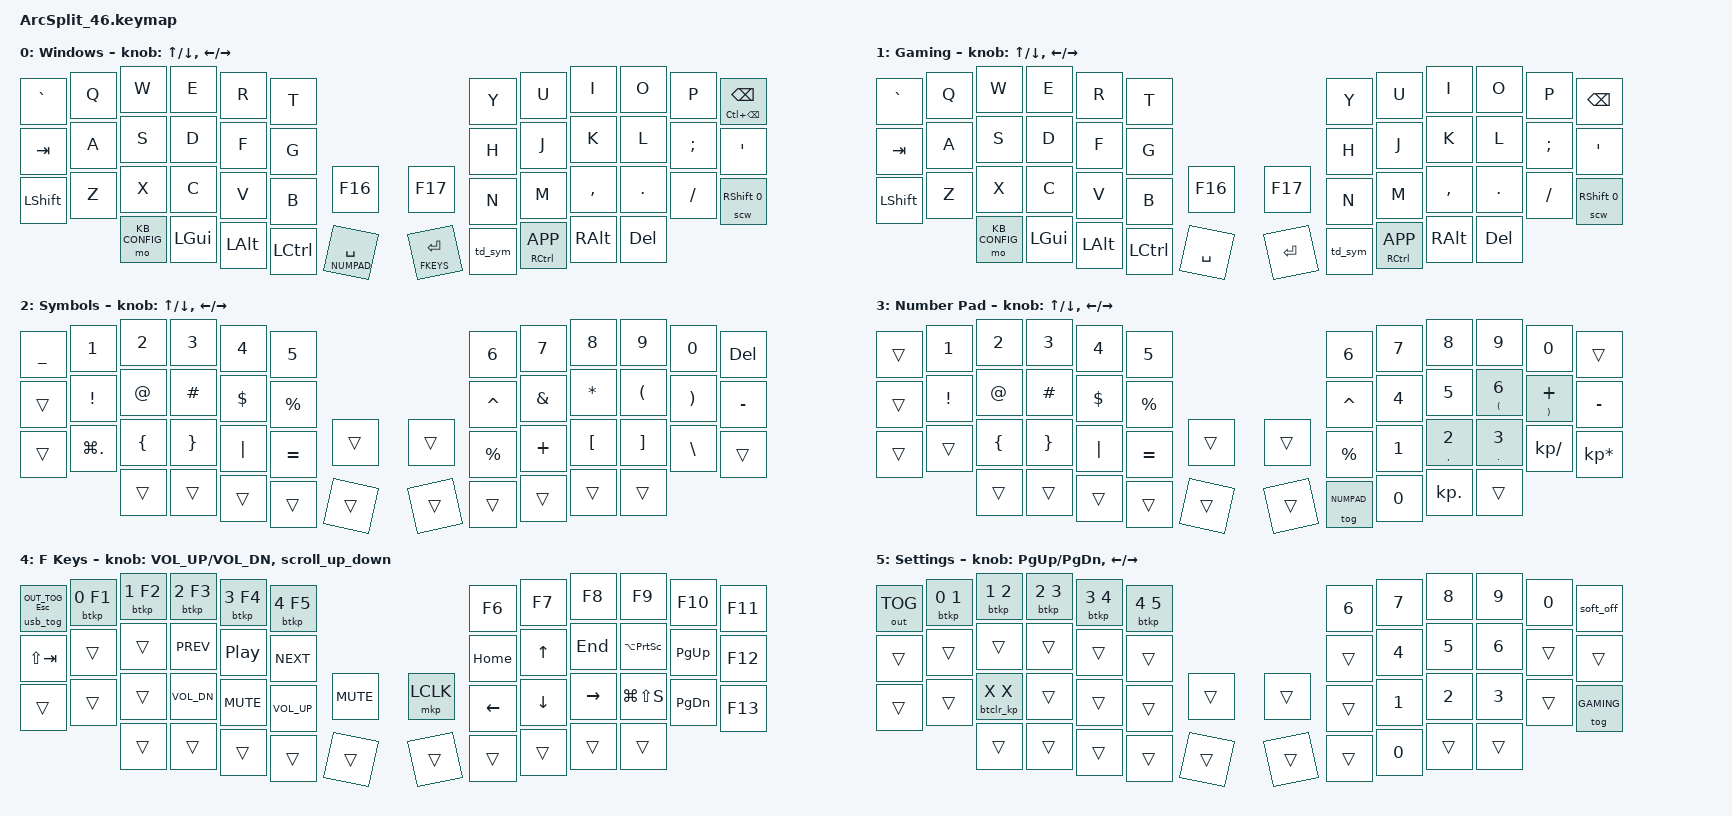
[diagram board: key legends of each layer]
#include <behaviors.dtsi>
#include <dt-bindings/zmk/keys.h>
#include <dt-bindings/zmk/bt.h>
#include <dt-bindings/zmk/outputs.h>

#define ZMK_POINTING_DEFAULT_SCRL_VAL 100
#include <dt-bindings/zmk/pointing.h>

// Helpful macros borrowed from AndrewMSHowe
#define ___ &trans

// Layer numbers for use by the keymap & macros
#define WINDOWS   0
#define GAMING    1
#define SYMBOLS   2
#define NUMPAD    3
#define FKEYS     4
#define KB_CONFIG 5

#include "position_map.dtsi"
#include "ArcSplit_46-layout.dtsi"
#include "keymap_behaviors.dtsi"
#include "keymap_macros.dtsi"

/ {

    keymap {
        compatible = "zmk,keymap";

        default_layer {
            display-name = "Windows";
            sensor-bindings = <&inc_dec_kp UP DOWN &inc_dec_kp LEFT RIGHT>;
            bindings = <
// ╭───────────────┬───────────────┬───────────────┬───────────────┬───────────────┬───────────────╮                                 ╭───────────────┬───────────────┬───────────────┬───────────────┬───────────────┬───────────────╮
// │    GRAVE      │      Q        │      W        │      E        │      R        │      T        │                                 │      Y        │      U        │      I        │      O        │      P        │  LC(BSPC)/BSPC│
// ├───────────────┼───────────────┼───────────────┼───────────────┼───────────────┼───────────────┤                                 ├───────────────┼───────────────┼───────────────┼───────────────┼───────────────┼───────────────┤
// │    TAB        │      A        │      S        │      D        │      F        │      G        │                                 │      H        │      J        │      K        │      L        │      ;        │      '        │
// ├───────────────┼───────────────┼───────────────┼───────────────┼───────────────┼───────────────┼─────────────╮     ╭─────────────┼───────────────┼───────────────┼───────────────┼───────────────┼───────────────┼───────────────┤
// │    LSHIFT     │      Z        │      X        │      C        │      V        │      B        │    F16      │     │    F17      │      N        │      M        │      ,        │      .        │      /        │  RSHIFT(scw)  │
// ╰───────────────┴───────────────┼───────────────┼───────────────┼───────────────┼───────────────┼─────────────╯     ╰─────────────┼───────────────┼───────────────┼───────────────┼───────────────┼───────────────┴───────────────╯
//                                 │  mo KB_CONFIG │    LGUI       │    LALT       │    LCTRL      │  NUMPAD/SPC │     │  FKEYS/ENT  │    td_sym     │  RCTRL/K_APP  │    RALT       │    DEL        │
//                                 ╰───────────────┴───────────────┴───────────────┴───────────────┴─────────────╯     ╰─────────────┴───────────────┴───────────────┴───────────────┴───────────────╯
// ╭───────────────┬───────────────┬───────────────┬───────────────┬───────────────┬───────────────╮                                 ╭───────────────┬───────────────┬───────────────┬───────────────┬───────────────┬───────────────╮
       &kp GRAVE      &kp Q            &kp W           &kp E           &kp R           &kp T     /*|                                 |*/  &kp Y           &kp U           &kp I           &kp O           &kp P          &mt LC(BSPC) BSPC
       &kp TAB        &kp A            &kp S           &kp D           &kp F           &kp G     /*├─────────────╮     ╭─────────────┤*/  &kp H           &kp J           &kp K           &kp L           &kp SEMI       &kp SQT
       &kp LSHIFT     &kp Z            &kp X           &kp C           &kp V           &kp B           &kp F16             &kp F17        &kp N           &kp M           &kp COMMA       &kp DOT         &kp FSLH       &scw RSHIFT 0
/* ╰───────────────┴───────────────┤*/ &mo KB_CONFIG   &kp LGUI        &kp LALT        &kp LCTRL   &lt NUMPAD SPACE     &lt FKEYS ENTER   &td_sym        &mt RCTRL K_APP    &kp RALT        &kp DEL   //├───────────────┴───────────────╯
//                                 ╰───────────────┴───────────────┴───────────────┴───────────────┴─────────────╯     ╰─────────────┴───────────────┴───────────────┴───────────────┴───────────────╯
            >;
        };

        gaming_layer {
            display-name = "Gaming";
            sensor-bindings = <&inc_dec_kp UP DOWN &inc_dec_kp LEFT RIGHT>;
            bindings = <
// ╭───────────────┬───────────────┬───────────────┬───────────────┬───────────────┬───────────────╮                                 ╭───────────────┬───────────────┬───────────────┬───────────────┬───────────────┬───────────────╮
// │    GRAVE      │      Q        │      W        │      E        │      R        │      T        │                                 │      Y        │      U        │      I        │      O        │      P        │     BSPC      │
// ├───────────────┼───────────────┼───────────────┼───────────────┼───────────────┼───────────────┤                                 ├───────────────┼───────────────┼───────────────┼───────────────┼───────────────┼───────────────┤
// │    TAB        │      A        │      S        │      D        │      F        │      G        │                                 │      H        │      J        │      K        │      L        │      ;        │      '        │
// ├───────────────┼───────────────┼───────────────┼───────────────┼───────────────┼───────────────┼─────────────╮     ╭─────────────┼───────────────┼───────────────┼───────────────┼───────────────┼───────────────┼───────────────┤
// │    LSHIFT     │      Z        │      X        │      C        │      V        │      B        │    F16      │     │    F17      │      N        │      M        │      ,        │      .        │      /        │     RSHIFT    │
// ╰───────────────┴───────────────┼───────────────┼───────────────┼───────────────┼───────────────┼─────────────╯     ╰─────────────┼───────────────┼───────────────┼───────────────┼───────────────┼───────────────┴───────────────╯
//                                 │  mo KB_CONFIG │    LGUI       │    LALT       │    LCTRL      │  NUMPAD/SPC │     │  FKEYS/ENT  │    td_sym     │  RCTRL/K_APP  │    RALT       │    DEL        │
//                                 ╰───────────────┴───────────────┴───────────────┴───────────────┴─────────────╯     ╰─────────────┴───────────────┴───────────────┴───────────────┴───────────────╯
// ╭───────────────┬───────────────┬───────────────┬───────────────┬───────────────┬───────────────╮                                 ╭───────────────┬───────────────┬───────────────┬───────────────┬───────────────┬───────────────╮
       &kp GRAVE      &kp Q            &kp W           &kp E           &kp R           &kp T     /*|                                 |*/  &kp Y           &kp U           &kp I           &kp O           &kp P          &kp BSPC
       &kp TAB        &kp A            &kp S           &kp D           &kp F           &kp G     /*├─────────────╮     ╭─────────────┤*/  &kp H           &kp J           &kp K           &kp L           &kp SEMI       &kp SQT
       &kp LSHIFT     &kp Z            &kp X           &kp C           &kp V           &kp B           &kp F16             &kp F17        &kp N           &kp M           &kp COMMA       &kp DOT         &kp FSLH       &scw RSHIFT 0
/* ╰───────────────┴───────────────┤*/ &mo KB_CONFIG   &kp LGUI        &kp LALT        &kp LCTRL       &kp SPACE           &kp ENTER      &td_sym         &mt RCTRL K_APP    &kp RALT     &kp DEL   //├───────────────┴───────────────╯
//                                 ╰───────────────┴───────────────┴───────────────┴───────────────┴─────────────╯     ╰─────────────┴───────────────┴───────────────┴───────────────┴───────────────╯
            >;
        };

        symbols_layer {
            display-name = "Symbols";
            sensor-bindings = <&inc_dec_kp UP DOWN &inc_dec_kp LEFT RIGHT>;
            bindings = <
// ╭───────────────┬───────────────┬───────────────┬───────────────┬───────────────┬───────────────╮                                 ╭───────────────┬───────────────┬───────────────┬───────────────┬───────────────┬───────────────╮
// │    _          │      1        │      2        │      3        │      4        │      5        │                                 │      6        │      7        │      8        │      9        │      0        │     DEL       │
// ├───────────────┼───────────────┼───────────────┼───────────────┼───────────────┼───────────────┤                                 ├───────────────┼───────────────┼───────────────┼───────────────┼───────────────┼───────────────┤
// │    ___        │      !        │      @        │      #        │      $        │      %        │                                 │      ^        │      &        │      *        │      (        │      )        │      -        │
// ├───────────────┼───────────────┼───────────────┼───────────────┼───────────────┼───────────────┼─────────────╮     ╭─────────────┼───────────────┼───────────────┼───────────────┼───────────────┼───────────────┼───────────────┤
// │    ___        │   LG(.)       │      {        │      }        │      |        │      =        │    ___      │     │    ___      │      %        │      +        │      [        │      ]        │      \        │     ___       │
// ╰───────────────┴───────────────┼───────────────┼───────────────┼───────────────┼───────────────┼─────────────╯     ╰─────────────┼───────────────┼───────────────┼───────────────┼───────────────┼───────────────┴───────────────╯
//                                 │    ___        │    ___        │    ___        │    ___        │    ___      │     │    ___      │    ___        │    ___        │    ___        │    ___        │
//                                 ╰───────────────┴───────────────┴───────────────┴───────────────┴─────────────╯     ╰─────────────┴───────────────┴───────────────┴───────────────┴───────────────╯
// ╭───────────────┬───────────────┬───────────────┬───────────────┬───────────────┬───────────────╮                                 ╭───────────────┬───────────────┬───────────────┬───────────────┬───────────────┬───────────────╮
       &kp UNDER       &kp N1          &kp N2          &kp N3          &kp N4          &kp N5    /*|                                 |*/  &kp N6          &kp N7          &kp N8          &kp N9          &kp N0          &kp DEL
       ___             &kp EXCL        &kp AT          &kp HASH        &kp DLLR        &kp PRCNT /*├─────────────╮     ╭─────────────┤*/  &kp CARET      &kp AMPERSAND   &kp STAR        &kp LPAR        &kp RPAR        &kp MINUS
       ___             &kp LG(DOT)     &kp LEFT_BRACE  &kp RIGHT_BRACE &kp PIPE        &kp EQUAL       ___                 ___            &kp PRCNT      &kp PLUS        &kp LBKT        &kp RBKT        &kp BACKSLASH   ___
/* ╰───────────────┴───────────────┤*/ ___             ___             ___             ___             ___                 ___            ___            ___             ___             ___       //├───────────────┴───────────────╯
//                                 ╰───────────────┴───────────────┴───────────────┴───────────────┴─────────────╯     ╰─────────────┴───────────────┴───────────────┴───────────────┴───────────────╯
            >;
        };

        numpad_layer {
            display-name = "Number Pad";
            sensor-bindings = <&inc_dec_kp UP DOWN &inc_dec_kp LEFT RIGHT>;
            bindings = <
// ╭───────────────┬───────────────┬───────────────┬───────────────┬───────────────┬───────────────╮                                 ╭───────────────┬───────────────┬───────────────┬───────────────┬───────────────┬───────────────╮
// │    ___        │      1        │      2        │      3        │      4        │      5        │                                 │      6        │      7        │      8        │      9        │      0        │     ___       │
// ├───────────────┼───────────────┼───────────────┼───────────────┼───────────────┼───────────────┤                                 ├───────────────┼───────────────┼───────────────┼───────────────┼───────────────┼───────────────┤
// │    ___        │      !        │      @        │      #        │      $        │      %        │                                 │      ^        │      4        │      5        │   (  or  6    │   )  or  +    │      -        │
// ├───────────────┼───────────────┼───────────────┼───────────────┼───────────────┼───────────────┼─────────────╮     ╭─────────────┼───────────────┼───────────────┼───────────────┼───────────────┼───────────────┼───────────────┤
// │    ___        │    ___        │      {        │      }        │      |        │      =        │    ___      │     │    ___      │      %        │      1        │   ,  or  2    │   .  or  3    │    KP_DIV     │    KP_MUL     │
// ╰───────────────┴───────────────┼───────────────┼───────────────┼───────────────┼───────────────┼─────────────╯     ╰─────────────┼───────────────┼───────────────┼───────────────┼───────────────┼───────────────┴───────────────╯
//                                 │    ___        │    ___        │    ___        │    ___        │    ___      │     │    ___      │  tog NUMPAD   │      0        │    KP_DOT     │    ___        │
//                                 ╰───────────────┴───────────────┴───────────────┴───────────────┴─────────────╯     ╰─────────────┴───────────────┴───────────────┴───────────────┴───────────────╯
// ╭───────────────┬───────────────┬───────────────┬───────────────┬───────────────┬───────────────╮                                 ╭───────────────┬───────────────┬───────────────┬───────────────┬───────────────┬───────────────╮
       ___             &kp N1          &kp N2          &kp N3          &kp N4          &kp N5    /*|                                 |*/     &kp N6      &kp N7          &kp N8          &kp N9          &kp N0          ___
       ___             &kp EXCL        &kp AT          &kp HASH        &kp DLLR        &kp PRCNT /*├─────────────╮     ╭─────────────┤*/  &kp CARET      &kp N4          &kp N5          &mt LPAR N6     &mt RPAR PLUS   &kp MINUS
       ___             ___             &kp LEFT_BRACE  &kp RIGHT_BRACE &kp PIPE        &kp EQUAL       ___                 ___            &kp PRCNT      &kp N1          &mt COMMA N2    &mt DOT N3      &kp KP_DIVIDE   &kp KP_MULTIPLY
/* ╰───────────────┴───────────────┤*/ ___             ___             ___             ___             ___                 ___            &tog NUMPAD    &kp N0          &kp KP_DOT      ___       //├───────────────┴───────────────╯
//                                 ╰───────────────┴───────────────┴───────────────┴───────────────┴─────────────╯     ╰─────────────┴───────────────┴───────────────┴───────────────┴───────────────╯
            >;
        };

        f_keys_layer {
            display-name = "F Keys";
            sensor-bindings = <&inc_dec_kp C_VOL_UP C_VOL_DN &scroll_up_down>;
            bindings = <
// ╭───────────────┬───────────────┬───────────────┬───────────────┬───────────────┬───────────────╮                                 ╭───────────────┬───────────────┬───────────────┬───────────────┬───────────────┬───────────────╮
// │  USB_TOG/ESC  │ BT0  or  F1   │  BT1  or  F2  │  BT2  or  F3  │  BT3  or  F4  │  BT4  or  F5  │                                 │      F6       │      F7       │      F8       │      F9       │     F10       │     F11       │
// ├───────────────┼───────────────┼───────────────┼───────────────┼───────────────┼───────────────┤                                 ├───────────────┼───────────────┼───────────────┼───────────────┼───────────────┼───────────────┤
// │    LS(TAB)    │    ___        │    ___        │     PREV      │      PP       │      NEXT     │                                 │     HOME      │      UP       │     END       │  LA(PSCRN)    │    PG_UP      │     F12       │
// ├───────────────┼───────────────┼───────────────┼───────────────┼───────────────┼───────────────┼─────────────╮     ╭─────────────┼───────────────┼───────────────┼───────────────┼───────────────┼───────────────┼───────────────┤
// │    ___        │    ___        │    ___        │     VOL_DN    │     MUTE      │     VOL_UP    │   C_MUTE    │     │  LCLK(mse)  │     LEFT      │     DOWN      │    RIGHT      │  LG(LS(S))    │    PG_DN      │     F13       │
// ╰───────────────┴───────────────┼───────────────┼───────────────┼───────────────┼───────────────┼─────────────╯     ╰─────────────┼───────────────┼───────────────┼───────────────┼───────────────┼───────────────┴───────────────╯
//                                 │    ___        │    ___        │    ___        │    ___        │    ___      │     │    ___      │    ___        │    ___        │    ___        │    ___        │
//                                 ╰───────────────┴───────────────┴───────────────┴───────────────┴─────────────╯     ╰─────────────┴───────────────┴───────────────┴───────────────┴───────────────╯
// ╭───────────────┬───────────────┬───────────────┬───────────────┬───────────────┬───────────────╮                                 ╭───────────────┬───────────────┬───────────────┬───────────────┬───────────────┬───────────────╮
  &usb_tog OUT_TOG ESCAPE &btkp 0 F1   &btkp 1 F2      &btkp 2 F3      &btkp 3 F4      &btkp 4 F5 /*|                                 |*/   &kp F6         &kp F7          &kp F8          &kp F9          &kp F10         &kp F11
      &kp LS(TAB)      ___             ___             &kp C_PREV      &kp C_PP        &kp C_NEXT /*├─────────────╮     ╭─────────────┤*/   &kp HOME       &kp UP          &kp END         &kp LA(PSCRN)   &kp PG_UP       &kp F12
      ___              ___             ___             &kp C_VOL_DN    &kp C_MUTE      &kp C_VOL_UP    &kp C_MUTE          &mkp LCLK        &kp LEFT       &kp DOWN        &kp RIGHT       &kp LG(LS(S))   &kp PG_DN       &kp F13
/* ╰───────────────┴───────────────┤*/ ___             ___             ___             ___              ___                 ___              ___            ___             ___             ___      //├───────────────┴───────────────╯
//                                 ╰───────────────┴───────────────┴───────────────┴────────────────┴─────────────╯     ╰─────────────┴───────────────┴───────────────┴───────────────┴───────────────╯
            >;
        };

        settings_layer {
            display-name = "Settings";
            sensor-bindings = <&inc_dec_kp PG_UP PG_DN &inc_dec_kp LEFT RIGHT>;
            bindings = <
// ╭───────────────┬───────────────┬───────────────┬───────────────┬───────────────┬───────────────╮                                 ╭───────────────┬───────────────┬───────────────┬───────────────┬───────────────┬───────────────╮
// │   OUT_TOG     │  BT0  / 1     │  BT1  / 2     │  BT2  / 3     │  BT3  / 4     │  BT4  / 5     │                                 │      6        │      7        │      8        │      9        │      0        │   SOFT_OFF    │
// ├───────────────┼───────────────┼───────────────┼───────────────┼───────────────┼───────────────┤                                 ├───────────────┼───────────────┼───────────────┼───────────────┼───────────────┼───────────────┤
// │    ___        │    ___        │    ___        │    ___        │    ___        │    ___        │                                 │    ___        │      4        │      5        │      6        │    ___        │     ___       │
// ├───────────────┼───────────────┼───────────────┼───────────────┼───────────────┼───────────────┼─────────────╮     ╭─────────────┼───────────────┼───────────────┼───────────────┼───────────────┼───────────────┼───────────────┤
// │    ___        │    ___        │  btclr / X    │    ___        │    ___        │    ___        │    ___      │     │    ___      │    ___        │      1        │      2        │      3        │    ___        │    GAMING     │
// ╰───────────────┴───────────────┼───────────────┼───────────────┼───────────────┼───────────────┼─────────────╯     ╰─────────────┼───────────────┼───────────────┼───────────────┼───────────────┼───────────────┴───────────────╯
//                                 │    ___        │    ___        │    ___        │    ___        │    ___      │     │    ___      │    ___        │      0        │    ___        │    ___        │
//                                 ╰───────────────┴───────────────┴───────────────┴───────────────┴─────────────╯     ╰─────────────┴───────────────┴───────────────┴───────────────┴───────────────╯
// ╭───────────────┬───────────────┬───────────────┬───────────────┬───────────────┬───────────────╮                                 ╭───────────────┬───────────────┬───────────────┬───────────────┬───────────────┬───────────────╮
      &out OUT_TOG     &btkp 0 N1      &btkp 1 N2      &btkp 2 N3      &btkp 3 N4      &btkp 4 N5 /*|                                 |*/   &kp N6         &kp N7          &kp N8          &kp N9          &kp N0          &soft_off
      ___              ___             ___             ___             ___             ___        /*├─────────────╮     ╭─────────────┤*/   ___            &kp N4          &kp N5          &kp N6          ___             ___
      ___              ___             &btclr_kp X X   ___             ___             ___             ___                 ___              ___            &kp N1          &kp N2          &kp N3          ___             &tog GAMING
/* ╰───────────────┴───────────────┤*/ ___             ___             ___             ___             ___                 ___              ___            &kp N0          ___             ___      //├───────────────┴───────────────╯
//                                 ╰───────────────┴───────────────┴───────────────┴────────────────┴─────────────╯     ╰─────────────┴───────────────┴───────────────┴───────────────┴───────────────╯
            >;
        };

        // Extra layers for ZMK Studio
        extra1 {
            status = "reserved";
        };
        extra2 {
            status = "reserved";
        };
        extra3 {
            status = "reserved";
        };

    };
};
